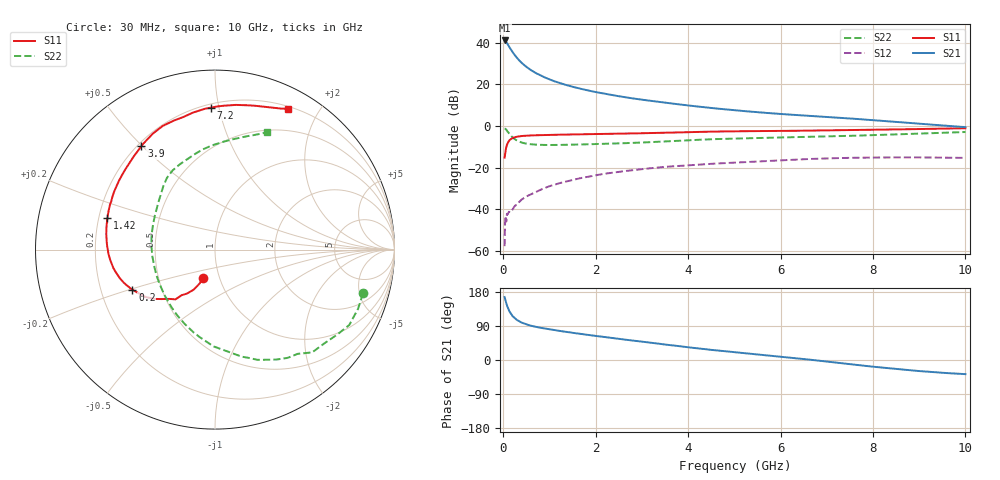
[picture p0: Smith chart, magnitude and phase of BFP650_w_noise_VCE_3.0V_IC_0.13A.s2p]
! Infineon Technologies  Discrete & RF Semiconductors
! BFP650
! VCE =  3.0 V,  IC = 0.13 A
! Common Emitter S-Parameters:  Jan 2016
# GHz  S  MA  R  50
!  f  S11  S21  S12  S22
! GHz  MAG  ANG  MAG  ANG  MAG  ANG  MAG  ANG
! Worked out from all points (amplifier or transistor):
!   229 points, 30 MHz to 10 GHz, reference 50 ohm
!   highest |S21| = 41.1 dB at 30 MHz (marker M1)
!   |S21| within 3 dB of that: start of sweep to 128.5 MHz
!   unconditionally stable (mu >= 1): 1.075 GHz to end of sweep
!   at 280 MHz: K = 0.72, MSG = 35.6 dB, |S12| = -38.0 dB
!   at 1.78 GHz: K = 1.03, MAG = 19.9 dB, |S12| = -24.6 dB
!   at 10 GHz: K = 1.03, MAG = 6.4 dB, |S12| = -15.3 dB
!   lowest NFmin = 1.69 dB at 450 MHz
!   S11 on the Smith chart (normalised r, x): 30 MHz: 0.83, -0.27; 200 MHz: 0.34, -0.21; 1.42 GHz: 0.24, +0.14; 3.9 GHz: 0.22, +0.50; 7.2 GHz: 0.22, +0.95; 10 GHz: 0.23, +1.63
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0.03  0.1738 -113.4  113.5 166.1  0.0013 140.5  0.8597 -16.5
0.04  0.2075 -114.4  112.1 161.2  0.0047 89.3  0.8626 -22.4
0.06  0.2903 -122.5  106.5 152.5  0.0051 79.8  0.8289 -34.9
0.08  0.3544 -128.5  98.85 144.4  0.0078 82.9  0.7882 -46.6
0.1  0.3978 -136.1  91.13 137.7  0.0077 67.1  0.7261 -56.2
0.125  0.4394 -141.7  81.53 130.7  0.0086 67.4  0.6671 -67.0
0.15  0.4712 -146.2  73.42 125.0  0.0092 70.3  0.6147 -76.0
0.2  0.5114 -154.0  60.13 116.1  0.0098 60.6  0.5389 -91.0
0.3  0.5542 -163.4  42.84 105.3  0.0129 61.5  0.4468 -112.3
0.4  0.5752 -169.6  32.76 98.6  0.0172 63.2  0.4014 -127.4
0.5  0.5862 -174.2  26.38 93.9  0.0203 63.9  0.3778 -138.5
0.7  0.5992 179.3  18.83 87.5  0.026 65.1  0.3574 -154.5
0.9  0.6073 174.2  14.62 83.0  0.0323 65.6  0.3504 -165.5
1.42  0.6245 163.7  9.264 73.3  0.0481 61.1  0.355 176.0
1.7  0.633 158.7  7.72 68.5  0.0567 58.8  0.3606 168.9
3.4  0.6844 132.4  3.753 42.5  0.102 39.5  0.4203 137.3
3.9  0.7071 125.4  3.212 35.1  0.1122 33.6  0.4489 130.5
5.1  0.7488 111.9  2.341 19.5  0.1337 21.6  0.5027 117.0
6.8  0.7805 96.1  1.708 -1.3  0.1639 4.1  0.5557 98.6
7.2  0.7913 91.6  1.598 -6.8  0.169 -0.5  0.5693 94.8
8.4  0.8259 76.7  1.28 -22.5  0.1761 -13.8  0.624 80.5
10  0.8844 62.5  0.94 -37.3  0.1716 -26.6  0.7174 66.0
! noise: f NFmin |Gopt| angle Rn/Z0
0.45  1.69  0.62  -171  0.06
0.9  1.71  0.63  -164  0.07
1.9  1.86  0.65  -149  0.11
2.4  1.98  0.63  -140  0.17
3.5  2.2  0.63  -118  0.32
